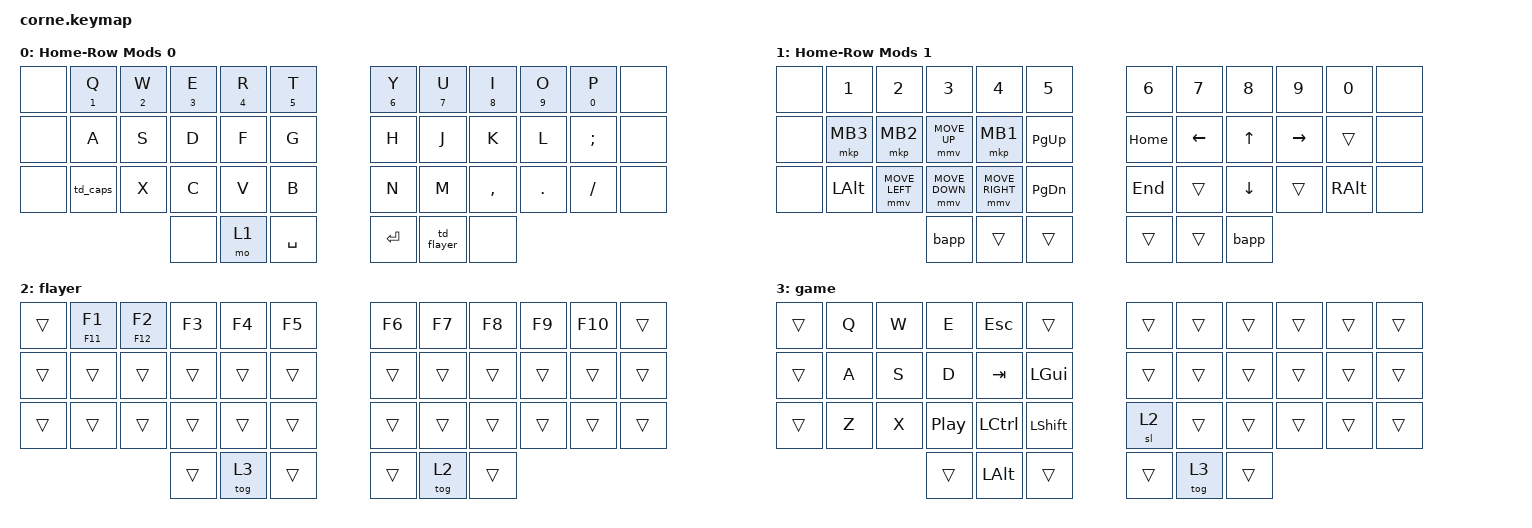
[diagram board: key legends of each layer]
#include <behaviors/battery_percentage_printer.dtsi>
#include <behaviors.dtsi>
#include <dt-bindings/zmk/bt.h>
#include <dt-bindings/zmk/keys.h>
#include <dt-bindings/zmk/pointing.h>

/ {
    combos {
        compatible = "zmk,combos";
        timeout-ms = <15>;

        // row 1

        combo_tilde {
            key-positions = <1 2>;
            bindings = <&kp TILDE>;
        };

        combo_lparen {
            key-positions = <3 4>;
            bindings = <&kp LPAR>;
        };

        combo_div {
            key-positions = <4 5>;
            bindings = <&kp FSLH>;
        };

        combo_mul {
            key-positions = <6 7>;
            bindings = <&kp ASTERISK>;
        };

        combo_rparen {
            key-positions = <7 8>;
            bindings = <&kp RPAR>;
        };

        combo_eq {
            key-positions = <9 8>;
            bindings = <&kp EQUAL>;
        };

        combo_bslh {
            key-positions = <33 34>;
            bindings = <&kp BSLH>;
        };

        // row 2

        combo_lbrace {
            key-positions = <15 16>;
            bindings = <&kp LBRC>;
        };

        combo_minus {
            key-positions = <16 17>;
            bindings = <&kp MINUS>;
        };

        combo_plus {
            key-positions = <18 19>;
            bindings = <&kp PLUS>;
        };

        combo_rbrace {
            key-positions = <19 20>;
            bindings = <&kp RBRC>;
        };

        combo_amps {
            key-positions = <20 21>;
            bindings = <&kp AMPS>;
        };

        combo_bktk {
            key-positions = <22 21 20>;
            bindings = <&kp GRAVE>;
        };

        // row 3

        combo_lbracket {
            key-positions = <27 28>;
            bindings = <&kp LBKT>;
        };

        combo_excl {
            key-positions = <28 29>;
            bindings = <&kp EXCL>;
        };

        combo_pipe {
            key-positions = <30 31>;
            bindings = <&kp PIPE>;
        };

        combo_rbracket {
            key-positions = <31 32>;
            bindings = <&kp RBKT>;
        };

        combo_ul {
            key-positions = <32 33>;
            bindings = <&kp UNDER>;
        };

        // bluetooth

        combo_bt0 {
            timeout-ms = <500>;
            require-prior-idle-ms = <1000>;
            key-positions = <1 2 3 6 4>;
            bindings = <&bt BT_SEL 0>;
        };

        combo_bt1 {
            timeout-ms = <500>;
            require-prior-idle-ms = <1000>;
            key-positions = <1 2 3 7 4>;
            bindings = <&bt BT_SEL 1>;
        };

        combo_bt2 {
            timeout-ms = <500>;
            require-prior-idle-ms = <1000>;
            key-positions = <1 2 3 8 4>;
            bindings = <&bt BT_SEL 2>;
        };

        combo_bt_clear {
            timeout-ms = <500>;
            require-prior-idle-ms = <1000>;
            key-positions = <1 2 3 11 4>;
            bindings = <&bt BT_CLR>;
        };

        // mouse mode

        combo_mouse_mode {
            require-prior-idle-ms = <500>;
            key-positions = <38 39>;
            bindings = <&to 1>;
        };

        combo_esc {
            bindings = <&kp ESC>;
            key-positions = <14 15 16>;
        };

        combo_tab {
            bindings = <&kp TAB>;
            key-positions = <13 14>;
            require-prior-idle-ms = <75>;
        };

        combo_lshft {
            bindings = <&ht_sticky LSHFT LSHFT>;
            key-positions = <13 15>;
        };

        combo_lctrl {
            bindings = <&ht_sticky LCTRL LCTRL>;
            key-positions = <14 16>;
        };

        combo_lalt {
            bindings = <&ht_sticky LALT LALT>;
            key-positions = <13 16>;
        };

        combo_rshft {
            bindings = <&ht_sticky RSHFT RSHFT>;
            key-positions = <22 20>;
        };

        combo_rctrl {
            bindings = <&ht_sticky RCTRL RCTRL>;
            key-positions = <19 21>;
        };

        combo_ralt {
            bindings = <&ht_sticky RALT RALT>;
            key-positions = <22 19>;
        };

        combo_lgui {
            bindings = <&ht_sticky LGUI LGUI>;
            key-positions = <25 28>;
        };

        combo_rgui {
            bindings = <&ht_sticky RGUI RGUI>;
            key-positions = <34 31>;
        };

        combo_bspc {
            bindings = <&kp BSPC>;
            key-positions = <19 20 21>;
        };

        combo_sqt {
            bindings = <&kp SQT>;
            key-positions = <22 21>;
        };
    };

    td_caps: td_caps {
        compatible = "zmk,behavior-tap-dance";
        #binding-cells = <0>;
        tapping-term-ms = <250>;
        bindings = <&kp Z>, <&caps_word>;
    };

    td_btsel: td_btsel {
        compatible = "zmk,behavior-tap-dance";
        #binding-cells = <0>;
        tapping-term-ms = <250>;
        bindings = <&none>, <&sl 0>;
    };

    ht_sticky: ht_sticky {
        compatible = "zmk,behavior-hold-tap";
        label = "HT_STICKY";
        bindings = <&kp>, <&sk>;

        #binding-cells = <2>;
        tapping-term-ms = <175>;
        flavor = "balanced";
    };

    td_flayer: td_flayer {
        compatible = "zmk,behavior-tap-dance";
        label = "TD_FLAYER";
        #binding-cells = <0>;
        bindings = <&mo 1>, <&tog 2>;
    };

    behaviors {
    };

    keymap {
        compatible = "zmk,keymap";

        hrm_0 {
            display-name = "Home-Row Mods 0";
            bindings = <
&none  &mt N1 Q  &mt N2 W  &mt N3 E  &mt N4 R  &mt N5 T     &mt N6 Y  &mt N7 U    &mt N8 I   &mt N9 O  &mt N0 P  &none
&none  &kp A     &kp S     &kp D     &kp F     &kp G        &kp H     &kp J       &kp K      &kp L     &kp SEMI  &none
&none  &td_caps  &kp X     &kp C     &kp V     &kp B        &kp N     &kp M       &kp COMMA  &kp DOT   &kp FSLH  &none
                           &none     &mo 1     &kp SPACE    &kp RET   &td_flayer  &none
            >;
        };

        hrm_1 {
            display-name = "Home-Row Mods 1";
            bindings = <
&none  &kp N1    &kp N2          &kp N3          &kp N4           &kp N5       &kp N6    &kp N7    &kp N8    &kp N9     &kp N0    &none
&none  &mkp MB3  &mkp MB2        &mmv MOVE_UP    &mkp MB1         &kp PG_UP    &kp HOME  &kp LEFT  &kp UP    &kp RIGHT  &trans    &none
&none  &kp LALT  &mmv MOVE_LEFT  &mmv MOVE_DOWN  &mmv MOVE_RIGHT  &kp PG_DN    &kp END   &trans    &kp DOWN  &trans     &kp RALT  &none
                                 &bapp           &trans           &trans       &trans    &trans    &bapp
            >;
        };

        flayer {
            bindings = <
&trans  &mt F11 F1  &mt F12 F2  &kp F3  &kp F4  &kp F5    &kp F6  &kp F7  &kp F8  &kp F9  &kp F10  &trans
&trans  &trans      &trans      &trans  &trans  &trans    &trans  &trans  &trans  &trans  &trans   &trans
&trans  &trans      &trans      &trans  &trans  &trans    &trans  &trans  &trans  &trans  &trans   &trans
                                &trans  &tog 3  &trans    &trans  &tog 2  &trans
            >;
        };

        game {
            bindings = <
&trans  &kp Q  &kp W  &kp E             &kp ESC       &trans       &trans  &trans  &trans  &trans  &trans  &trans
&trans  &kp A  &kp S  &kp D             &kp TAB       &kp LGUI     &trans  &trans  &trans  &trans  &trans  &trans
&trans  &kp Z  &kp X  &kp C_PLAY_PAUSE  &kp LCTRL     &kp LSHFT    &sl 2   &trans  &trans  &trans  &trans  &trans
                      &trans            &kp LEFT_ALT  &trans       &trans  &tog 3  &trans
            >;
        };
    };
};

&mt {
    tapping-term-ms = <200>;
    flavor = "tap-preferred";
};

&sk { release-after-ms = <5000>; };
